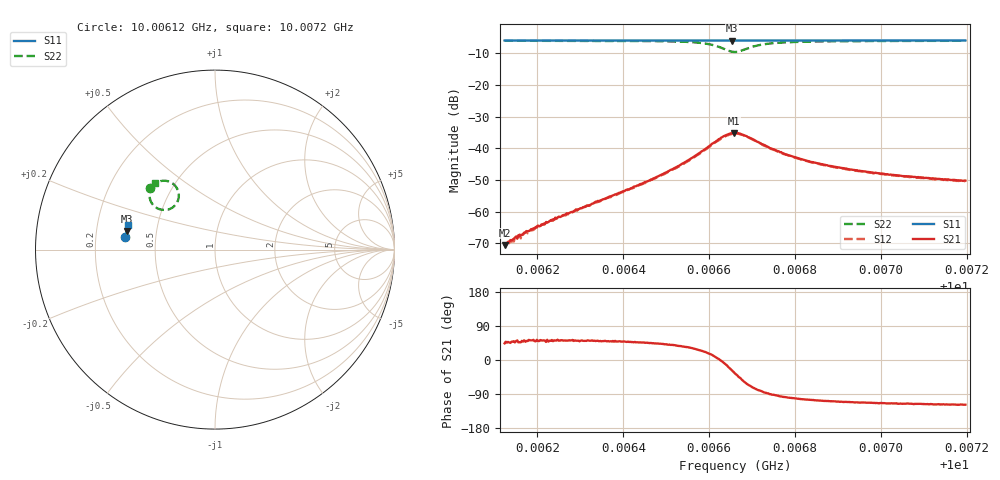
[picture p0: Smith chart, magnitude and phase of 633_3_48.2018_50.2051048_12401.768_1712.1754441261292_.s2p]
#  HZ  S  RI  R  50.00
! Rohde & Schwarz Vector Network Analyzer
! Rohde-Schwarz,ZNB20-2Port,1311601062101988,3.16
! Created: UTC 3/20/2024, 12:04:30 PM
! freq[Hz]  re:S11  im:S11  re:S21  im:S21  re:S12  im:S12  re:S22  im:S22
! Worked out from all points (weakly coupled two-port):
!   401 points, 10.00612 GHz to 10.0072 GHz, reference 50 ohm
!   highest |S21| = -35.17 dB at 10.00666 GHz (marker M1); lowest = -70.5 dB at 10.00612 GHz (marker M2)
!   lowest |S11| = -6.0 dB at 10.00665 GHz (marker M3), VSWR 3.02, Z = 16.7 + j4.55 ohm
!   |S11| at or under -10 dB: nowhere
!   |S22| runs from -9.6 to -6.0 dB; largest |S21 - S12| = 0.0015
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1.0006124e10  -0.4988 0.0682  0.000215 0.000207  0.000185 0.000216  -0.3615 0.3439
1.0006132e10  -0.4986 0.0688  0.000225 0.000247  0.000215 0.000242  -0.361 0.3444
1.0006145e10  -0.4985 0.0696  0.000241 0.000282  0.000214 0.00026  -0.3601 0.3454
1.0006153e10  -0.4984 0.07  0.00023 0.000293  0.000262 0.0003  -0.3595 0.3462
1.0006167e10  -0.4985 0.071  0.000294 0.000334  0.000271 0.000334  -0.3585 0.3471
1.0006199e10  -0.498 0.0732  0.000335 0.00045  0.00035 0.000469  -0.3564 0.3495
1.0006303e10  -0.4974 0.0801  0.0007 0.000884  0.000675 0.000913  -0.3475 0.3579
1.0006381e10  -0.4966 0.0851  0.00119 0.00144  0.00112 0.00143  -0.3382 0.3653
1.0006483e10  -0.4954 0.0919  0.00267 0.00249  0.00252 0.00257  -0.3177 0.3771
1.0006542e10  -0.4947 0.0957  0.00487 0.00342  0.00455 0.00353  -0.2925 0.3835
1.0006596e10  -0.4936 0.0994  0.00975 0.00334  0.0093 0.00366  -0.2448 0.374
1.0006628e10  -0.4925 0.1012  0.0147 -0.000582  0.0142 0.000416  -0.2061 0.3291
1.0006652e10  -0.4921 0.1018  0.0155 -0.00769  0.0155 -0.00649  -0.2115 0.2622
1.0006657e10  -0.4921 0.1021  0.0148 -0.00929  0.0149 -0.00815  -0.2214 0.2482
1.000666e10  -0.492 0.1022  0.0142 -0.0101  0.0146 -0.00871  -0.2271 0.2421
1.0006684e10  -0.4924 0.1031  0.00789 -0.0136  0.00866 -0.0128  -0.2942 0.2216
1.0006722e10  -0.4926 0.1057  0.00155 -0.0116  0.0022 -0.0115  -0.3501 0.2558
1.0006778e10  -0.4923 0.1095  -0.00112 -0.00794  -0.000675 -0.0079  -0.3647 0.2996
1.000684e10  -0.4916 0.1134  -0.00162 -0.00584  -0.00134 -0.00582  -0.3618 0.3242
1.0006931e10  -0.4906 0.1194  -0.00168 -0.00429  -0.0014 -0.00429  -0.3544 0.3431
1.0007019e10  -0.4894 0.1254  -0.00157 -0.00348  -0.00136 -0.00352  -0.3476 0.3544
1.0007196e10  -0.4867 0.1364  -0.00145 -0.00272  -0.00127 -0.0027  -0.3362 0.3693
